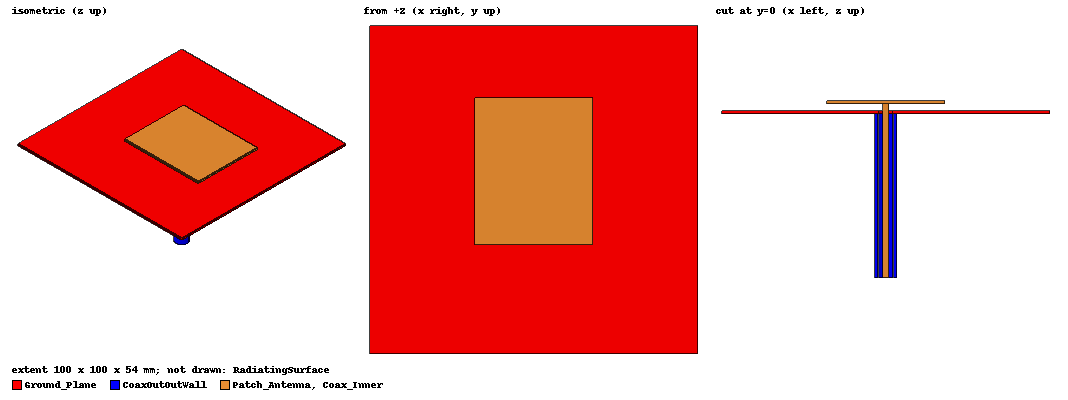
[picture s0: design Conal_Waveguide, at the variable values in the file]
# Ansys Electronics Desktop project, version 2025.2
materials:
  vacuum: permittivity=1
  copper: permeability=0.999991 conductivity=58000000
  air: permittivity=1.0006 permeability=1.0000004

design Conal_Waveguide (HFSS, HFSS Modal Network, model units mm)
options: open_region{BoundaryType=0 OpFreq=3GHz}
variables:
  ConeRadius = 35mm
  ConeHeight = 35mm
  L = 45mm
  X_Pos = 3
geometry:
  RadiatingSurface [vacuum] = region(absolute_offset=33.333333mm on all sides)
  Coax_Inner [copper] = cylinder(axis=Z, base_centre=(0mm, 0mm, -50mm), radius=1mm, height=53mm)
  Ground_Plane [copper] = box(corner=(-50mm, -50mm, 0mm), size=(100mm, 100mm, 1mm))
  Cylinder2 = cylinder(axis=Z, base_centre=(0mm, 0mm, 0mm), radius=2.13mm, height=2mm)
  Ground_Plane.subtract(Cylinder2)
  CoaxOutOutWall [copper] = cylinder(axis=Z, base_centre=(0mm, 0mm, 0mm), radius=3.3mm, height=-50mm)
  CoaxOutInWall = cylinder(axis=Z, base_centre=(0mm, 0mm, 0mm), radius=2.3mm, height=-50mm)
  CoaxOutOutWall.subtract(CoaxOutInWall)
  Port = circle(normal=Z, centre=(0mm, 0mm, -50mm), radius=3.2mm)
  Patch_Antenna [copper] = box(corner=(-0.4*L, -X_Pos*0.125*L, 3mm), size=(0.8*L, L, 1mm))
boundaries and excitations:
  AutoOpen1: Radiation Objects=RadiatingSurface
  1: Lumped Port Objects=Port LumpedPortType=Modal Modes{Mode1{IntLine{(0, 0, -50) -> (3000mm, -500mm, -50000mm)} CharImp=Zpi}} Impedance=50ohm
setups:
  Auto1: HfssDriven Frequency=3GHz MaxDeltaS=0.02 MaximumPasses=8 MinimumPasses=1 MinimumConvergedPasses=1 PercentRefinement=30 BasisOrder=1 PortAccuracy=2 DrivenSolverType="Direct Solver"
    sweep Sweep1: 2GHz to 4GHz, 401 points; Type=Interpolating InterpTolerance=0.5 InterpMaxSolns=250 InterpUsePortImped=false PassivityErrorTolerance=0.0001
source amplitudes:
  1:1: 1W 0deg
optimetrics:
  ParametricSetup1: Parametric Sim._Setups=[Auto1]
    sweep L: LIN 35mm 55mm 5mm
    sweep X_Pos: LIN 1 3 1
  ParametricSetup2: Parametric Sim._Setups=[Auto1]
    sweep L: LIN 40mm 50mm 5mm
    sweep X_Pos: LIN 2 5 0.5
  ParametricSetup3: Parametric Sim._Setups=[Auto1]
    sweep X_Pos: LIN 2.5 3.5 0.1
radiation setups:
  3D: Infinite Sphere Theta=0deg..180deg step 2deg Phi=-180deg..180deg step 2deg
  Elevation: Infinite Sphere Theta=-180deg..180deg step 1deg Phi=0deg..90deg step 90deg
  Azimuth: Infinite Sphere Theta=90deg..90deg step 0deg Phi=-180deg..180deg step 1deg
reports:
  S Parameter Plot1: dB(S(1,1)) vs Freq on Auto1 : Sweep1 [L=25mm,50mm,75mm X_Pos=1,2,3]
  S Parameter Plot2: dB(S(1,1)) vs Freq on Auto1 : Sweep1 [L=45mm X_Pos=3]
  Gain Plot1: GainTotal vs Phi, Theta on Auto1 : LastAdaptive, 3D [Freq=3GHz L=45mm X_Pos=3]
  E Plane: dB(rEPhi), dB(rETheta) vs Theta on Auto1 : LastAdaptive, Elevation [Phi=90deg Freq=3GHz L=45mm X_Pos=3]
  H Plane: dB(rEPhi), dB(rETheta) vs Theta on Auto1 : LastAdaptive, Elevation [Phi=0deg Freq=3GHz L=all X_Pos=3]
  S Parameter Plot3: dB(S(1,1)) vs Freq on Auto1 : Sweep1 [L=45mm X_Pos=1,2,2.5,3,3.5,4,4.5,5]
  S Parameter Plot4: dB(S(1,1)) vs Freq on Auto1 : Sweep1 [L=45mm X_Pos=2.5,2.6,2.7,2.8,2.9,3,3.1,3.2,3.3,3.4,3.5]
  S Parameter Plot5: dB(S(1,1)) vs Freq on Auto1 : Sweep1 [L=45mm X_Pos=2.9]
  Gain Plot2: GainTotal vs Phi, Theta on Auto1 : LastAdaptive, 3D [Freq=3GHz L=45mm X_Pos=2.9]
